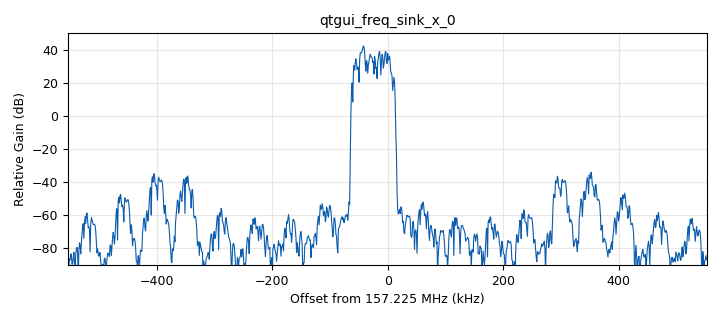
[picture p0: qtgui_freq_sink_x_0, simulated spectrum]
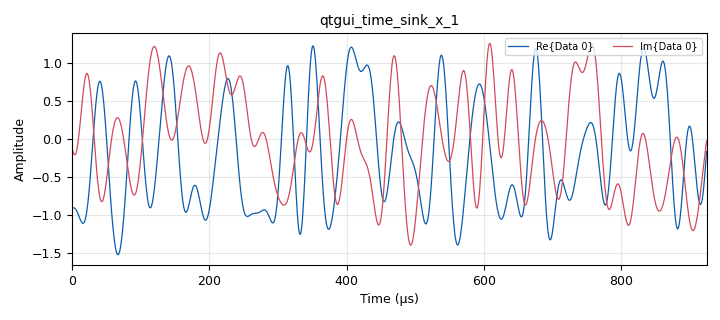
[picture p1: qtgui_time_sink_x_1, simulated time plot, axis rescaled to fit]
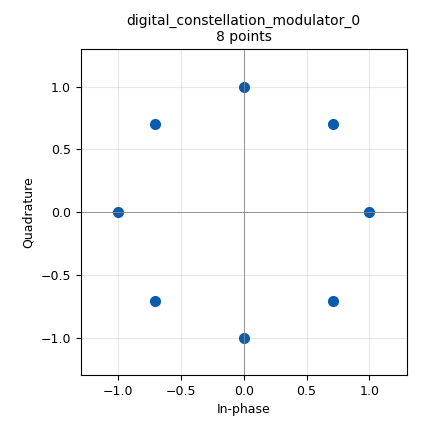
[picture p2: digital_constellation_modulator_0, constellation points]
options:
  parameters:
    generate_options: qt_gui
    id: VDETERframebuilder
    output_language: python
    title: Not titled yet
  states: {}

blocks:
- name: bit_rate
  id: variable
  parameters:
    value: 57.6e3
  states: {}
- name: qpsk_vde_ter_pi4
  id: variable_constellation
  parameters:
    const_points: '[-0.7071 -0.7071j, -1+0j,-0.7071+0.7071j,0+1j,0.7071-0.7071j, 0-1j,0.7071+0.7071j,1+0j]'
    dims: '1'
    precision: '8'
    rot_sym: '8'
    sym_map: '[0, 1, 2, 3, 4, 5, 6, 7]'
    type: calcdist
  states: {}
- name: samp_rate
  id: variable
  parameters:
    value: '1105920'
  states: {}
- name: analog_sig_source_x_0
  id: analog_sig_source_x
  parameters:
    amp: '1'
    freq: '-25e3'
    offset: '0'
    phase: '0'
    samp_rate: samp_rate
    type: complex
    waveform: analog.GR_SIN_WAVE
  states: {}
- name: analog_sig_source_x_0_0
  id: analog_sig_source_x
  parameters:
    amp: '1'
    freq: +25e3
    offset: '0'
    phase: '0'
    samp_rate: samp_rate
    type: complex
    waveform: analog.GR_SIN_WAVE
  states: {state: disabled}
- name: blocks_multiply_const_xx_0
  id: blocks_multiply_const_xx
  parameters:
    const: '900'
    type: complex
  states: {}
- name: blocks_multiply_const_xx_0_0
  id: blocks_multiply_const_xx
  parameters:
    const: '900'
    type: complex
  states: {state: disabled}
- name: blocks_multiply_xx_0
  id: blocks_multiply_xx
  parameters:
    type: complex
  states: {}
- name: blocks_multiply_xx_0_2
  id: blocks_multiply_xx
  parameters:
    type: complex
  states: {state: disabled}
- name: blocks_selector_0
  id: blocks_selector
  parameters:
    enabled: 'True'
    input_index: '0'
    num_inputs: '2'
    num_outputs: '1'
    output_index: '0'
    type: complex
  states: {state: disabled}
- name: blocks_throttle_0
  id: blocks_throttle
  parameters:
    samples_per_second: samp_rate
    type: complex
  states: {}
- name: digital_constellation_modulator_0
  id: digital_constellation_modulator
  parameters:
    constellation: qpsk_vde_ter_pi4
    differential: 'True'
    excess_bw: '0.3'
    samples_per_symbol: int(samp_rate/bit_rate)
    verbose: 'True'
  states: {}
- name: epy_block_0
  id: epy_block
  parameters:
    LinkID: '11'
    VDEMessage: '''010111001001010010000011101011011110011010001010100000000001110101101111001101000101100010000000000000000000000100000000000000000000000000000001110000110001110000110001110000110000110000110000110000110001110000110001110000110001110000110000110001110001110000110001110000110001110000110000011000000'''
    _source_code: "\"\"\"\nEmbedded Python Blocks:\n\nEach time this file is saved, GRC will instantiate the first class it finds\nto get ports and parameters of your block. The arguments to __init__  will\nbe the parameters. All of them are required to have default values!\n\"\"\"\n\nimport numpy as np\nfrom gnuradio import gr\nimport time\n\n\nclass blk(gr.sync_block):  # other base classes are basic_block, decim_block, interp_block\n    \"\"\"Embedded Python Block\"\"\"\n\n    def __init__(self, LinkID=11, VDEMessage='0101000000001110101101111001101000101010011101011011110011010001011000100000000000000000001100100000000000000000000000000000000000000000000000000000000000000000000000000000000000000000000000000000000000000000000000000000000000000000000000000000000000000000'):  # only default arguments here\n        \"\"\"arguments to this function show up as parameters in GRC\"\"\"\n        gr.sync_block.__init__(\n            self,\n            name='VDE-TER Framebuilder',   # will show up in GRC\n            in_sig=None,\n            out_sig=[np.byte]\n        )\n        # if an attribute with the same name as a parameter is found,\n        # a callback is registered (properties work, too).\n        #self.example_param = example_param\n\n        self.VDEMessage = VDEMessage\n        self.LinkID = LinkID \n        '''Link ID should only be 11, 17, 19. 5 is only included, because we could not find\n        examples of any other link ID frame generation. In order to validate the code, it was \n        neccessary to include link ID 5, the code also consists of modulation, so if link ID 19 \n        is used, the code does not work, according to the technical specifications in ITU'''\n    \n    linkID_datagram_length = {11: 400, 17: 1840, 19: 5584, 5:256} #Datagram length that was determined by subtracting 32 from the FEC input\n    \n\n    def append_padding(self, LinkID, message, linkID_datagram_length):\n        #only take account for messages shorter then the datagram. Fragmentation is not taken into account\n        datagram_length = linkID_datagram_length[LinkID]\n        if datagram_length != len(message):\n            message = message + '0'*(datagram_length-len(message))\n        return message\n    \n    #table and crc32 code from https://gist.github.com/Miliox/b86b60b9755faf3bd7cf\n    CRC32_MPEG_TABLE = [\n        0x00000000, 0x04c11db7, 0x09823b6e, 0x0d4326d9,\n      0x130476dc, 0x17c56b6b, 0x1a864db2, 0x1e475005,\n      0x2608edb8, 0x22c9f00f, 0x2f8ad6d6, 0x2b4bcb61,\n      0x350c9b64, 0x31cd86d3, 0x3c8ea00a, 0x384fbdbd,\n      0x4c11db70, 0x48d0c6c7, 0x4593e01e, 0x4152fda9,\n      0x5f15adac, 0x5bd4b01b, 0x569796c2, 0x52568b75,\n      0x6a1936c8, 0x6ed82b7f, 0x639b0da6, 0x675a1011,\n      0x791d4014, 0x7ddc5da3, 0x709f7b7a, 0x745e66cd,\n      0x9823b6e0, 0x9ce2ab57, 0x91a18d8e, 0x95609039,\n      0x8b27c03c, 0x8fe6dd8b, 0x82a5fb52, 0x8664e6e5,\n      0xbe2b5b58, 0xbaea46ef, 0xb7a96036, 0xb3687d81,\n      0xad2f2d84, 0xa9ee3033, 0xa4ad16ea, 0xa06c0b5d,\n      0xd4326d90, 0xd0f37027, 0xddb056fe, 0xd9714b49,\n      0xc7361b4c, 0xc3f706fb, 0xceb42022, 0xca753d95,\n      0xf23a8028, 0xf6fb9d9f, 0xfbb8bb46, 0xff79a6f1,\n      0xe13ef6f4, 0xe5ffeb43, 0xe8bccd9a, 0xec7dd02d,\n      0x34867077, 0x30476dc0, 0x3d044b19, 0x39c556ae,\n      0x278206ab, 0x23431b1c, 0x2e003dc5, 0x2ac12072,\n      0x128e9dcf, 0x164f8078, 0x1b0ca6a1, 0x1fcdbb16,\n      0x018aeb13, 0x054bf6a4, 0x0808d07d, 0x0cc9cdca,\n      0x7897ab07, 0x7c56b6b0, 0x71159069, 0x75d48dde,\n      0x6b93dddb, 0x6f52c06c, 0x6211e6b5, 0x66d0fb02,\n      0x5e9f46bf, 0x5a5e5b08, 0x571d7dd1, 0x53dc6066,\n      0x4d9b3063, 0x495a2dd4, 0x44190b0d, 0x40d816ba,\n      0xaca5c697, 0xa864db20, 0xa527fdf9, 0xa1e6e04e,\n      0xbfa1b04b, 0xbb60adfc, 0xb6238b25, 0xb2e29692,\n      0x8aad2b2f, 0x8e6c3698, 0x832f1041, 0x87ee0df6,\n      0x99a95df3, 0x9d684044, 0x902b669d, 0x94ea7b2a,\n      0xe0b41de7, 0xe4750050, 0xe9362689, 0xedf73b3e,\n      0xf3b06b3b, 0xf771768c, 0xfa325055, 0xfef34de2,\n      0xc6bcf05f, 0xc27dede8, 0xcf3ecb31, 0xcbffd686,\n      0xd5b88683, 0xd1799b34, 0xdc3abded, 0xd8fba05a,\n      0x690ce0ee, 0x6dcdfd59, 0x608edb80, 0x644fc637,\n      0x7a089632, 0x7ec98b85, 0x738aad5c, 0x774bb0eb,\n      0x4f040d56, 0x4bc510e1, 0x46863638, 0x42472b8f,\n      0x5c007b8a, 0x58c1663d, 0x558240e4, 0x51435d53,\n      0x251d3b9e, 0x21dc2629, 0x2c9f00f0, 0x285e1d47,\n      0x36194d42, 0x32d850f5, 0x3f9b762c, 0x3b5a6b9b,\n      0x0315d626, 0x07d4cb91, 0x0a97ed48, 0x0e56f0ff,\n      0x1011a0fa, 0x14d0bd4d, 0x19939b94, 0x1d528623,\n      0xf12f560e, 0xf5ee4bb9, 0xf8ad6d60, 0xfc6c70d7,\n      0xe22b20d2, 0xe6ea3d65, 0xeba91bbc, 0xef68060b,\n      0xd727bbb6, 0xd3e6a601, 0xdea580d8, 0xda649d6f,\n      0xc423cd6a, 0xc0e2d0dd, 0xcda1f604, 0xc960ebb3,\n      0xbd3e8d7e, 0xb9ff90c9, 0xb4bcb610, 0xb07daba7,\n      0xae3afba2, 0xaafbe615, 0xa7b8c0cc, 0xa379dd7b,\n      0x9b3660c6, 0x9ff77d71, 0x92b45ba8, 0x9675461f,\n      0x8832161a, 0x8cf30bad, 0x81b02d74, 0x857130c3,\n      0x5d8a9099, 0x594b8d2e, 0x5408abf7, 0x50c9b640,\n      0x4e8ee645, 0x4a4ffbf2, 0x470cdd2b, 0x43cdc09c,\n      0x7b827d21, 0x7f436096, 0x7200464f, 0x76c15bf8,\n      0x68860bfd, 0x6c47164a, 0x61043093, 0x65c52d24,\n      0x119b4be9, 0x155a565e, 0x18197087, 0x1cd86d30,\n      0x029f3d35, 0x065e2082, 0x0b1d065b, 0x0fdc1bec,\n      0x3793a651, 0x3352bbe6, 0x3e119d3f, 0x3ad08088,\n      0x2497d08d, 0x2056cd3a, 0x2d15ebe3, 0x29d4f654,\n      0xc5a92679, 0xc1683bce, 0xcc2b1d17, 0xc8ea00a0,\n      0xd6ad50a5, 0xd26c4d12, 0xdf2f6bcb, 0xdbee767c,\n      0xe3a1cbc1, 0xe760d676, 0xea23f0af, 0xeee2ed18,\n      0xf0a5bd1d, 0xf464a0aa, 0xf9278673, 0xfde69bc4,\n      0x89b8fd09, 0x8d79e0be, 0x803ac667, 0x84fbdbd0,\n      0x9abc8bd5, 0x9e7d9662, 0x933eb0bb, 0x97ffad0c,\n      0xafb010b1, 0xab710d06, 0xa6322bdf, 0xa2f33668,\n      0xbcb4666d, 0xb8757bda, 0xb5365d03, 0xb1f740b4\n        ]\n    \n    def _crc32(self, data, CRC32_MPEG_TABLE, crc=0xFFFFFFFF):\n\n        table = CRC32_MPEG_TABLE\n        for byte in data: \n            crc = (crc << 8) ^ table[((crc >> 24) ^ byte) & 0xFF]\n        \n        #Take last 32 bits of the value \n        crc = (crc & 0xFFFFFFFF)\n        \n        #turn into binary\n        #crc = format(crc, 'b') wrong\n        crc = '{0:b}'.format(crc).rjust(32,'0') #use to append 0 padding at the start\n        return crc\n    #Thanks to https://github.com/Michaelangel007/crc32 for demystifiying crc32\n    #After the payload has been padded and appended a crc32 value, turbo encoding need to be done accordingly\n\n    permutation_primes = {5: [47,17,233,127,239,139,199,163],\n                          11: [127,191,241,5,83,109,107,179],\n                          17: [211,61,227,239,181,79,73,193],\n                          19: [137,101,223,41,67,131,61,47]} #List of permuatationn primes associated with a link ID\n    k1_k2 = {5: [2,144],\n             11: [2,216],\n             17: [6,312],\n             19: [16,351]} #k values associated with different link IDs\n\n    def calculate_permutation(self,s, k1, k2, primes):\n        '''\n        Calculate the permutation numbers for s = (1,...,k)\n        The operations are from the ITU specification for VDES.\n        '''\n        m = (s - 1) % 2\n        i = ((s - 1) // (2*k2))\n        j = ((s - 1) // 2) - i*k2\n        t = (19*i + 1) % int((k1/2))\n        q = t % 8 + 1\n        c = (primes[q-1]*j + 21*m) % k2\n        pi_s = 2*(t + c*k1//2 + 1) - m\n        return int(pi_s)\n\n    def interleave(self, input, k1, k2, primes):\n        #create an empty list to contain the permutated indices\n        permuted_indices = []\n        #iterate with s values from 1-k, and use this to compute the permutated indice\n        for s in range(1,k1*k2+1):\n            #append the new permutated indices:\n            #indices are from 1-k.\n        \n            permuted_indices.append(self.calculate_permutation(s,k1,k2,primes))\n            #print(s)\n\n        #check for duplicates in permuted indics\n        if len(set(permuted_indices))!=len(permuted_indices):\n            print(\"something is wrong, an duplication exists\")\n    \n        #Generate a list of 0 same length as input. \n        interleaved_list = [0] * len(input)\n        #print(interleaved_list)\n        i = 0\n        for permuted_indice in permuted_indices:\n            #s bit read out should be pi(s), so if pi(1)=2 then input(2) should be the first \n            interleaved_list[i] = input[permuted_indice-1]\n            i += 1\n        \n        interleaved_string = ''.join(interleaved_list)\n        \n        return ''.join(interleaved_list)\n\n\n\n    def rsc_encode(self, input):\n        '''\n        Contains the Recursive Systematic Convultional (RSC) as described in the technical \n        specification of VDES. See https://www.itu.int/dms_pubrec/itu-r/rec/m/R-REC-M.2092-1-202202-I!!PDF-E.pdf, \n        Annex 2 for more information\n        '''\n        #Initialize the feedback register, should allways start start with 0 in each register\n        D = [0, 0, 0]\n        \n\n        #prepare output lists\n        X = []\n        Y1 = []\n        Y2 = []\n        xor = 0\n        for bit in input:\n            #Compute first xor operations\n            bit = int(bit)\n            xor = D[2]^D[1]^bit\n\n\n            # Calculate output bits\n            x = bit\n            y1 = xor ^ D[0] ^ D[2]\n            y2 =  xor ^ D[0] ^ D[1] ^ D[2]\n\n            #update the feedback register\n            D.insert(0, xor)\n            D.pop()\n            #append the output bits to the appropriate list\n            X.append(x)\n            Y1.append(y1)\n            Y2.append(y2)\n        \n        # After all the bits have been read in, the next step is to calculate the tail pattern. In this case no bit is shifted\n        # in so the encoding need to be changed accordingly. The RSC calculates the final string correctly, without the tail bits. \n        # The next step is to figure out the corresponding tail bits. After k clocks. that is 288 in the test examples, and might\n        # vary depenging on the link layer ID. For the 6 subsequent clocks, the switch is moved from position A to position B. \n        # This is done to ensure, that the shift register contains 3 0's. The tails are then \n        # Appended according to the tail puncturing pattern associated with a given link ID. \n\n        #prepare tail lists\n        X_tail = []\n        Y1_tail = []\n        Y2_tail = []\n\n\n        #print(D)\n        for i in range(0,3):\n            xor1 = D[1]^D[2]\n            xor = xor1^xor1\n\n            #compute the output bits for the tail\n            x_tail = xor1\n            y1_tail = xor ^ D[0] ^ D[2]\n            y2_tail =  xor ^ D[0] ^ D[1] ^ D[2]\n            #update the feedback register\n            D.insert(0, xor)\n            D.pop()\n            #append output bits to the appropriate tail list\n            X_tail.append(x_tail)\n            Y1_tail.append(y1_tail)\n            Y2_tail.append(y2_tail)\n\n        #print(D)\n        return X, Y1, Y2, X_tail, Y1_tail, Y2_tail\n    \n    puncture_pattern = {5: [[1,0,1,0,0,0], [1,0,0,0,0,0], [1,0,0,0,0,0], [1,0,0,0,0,0], [1,0,0,0,0,0], [1,0,0,0,0,1]],\n                        11: [[1,1,0,0,0,0], [1,0,0,0,1,0]],\n                        17: [[1,1,0,0,0,0], [1,0,0,0,1,0]],\n                        19: [[1,0,1,0,0,0], [1,0,0,0,0,0], [1,0,0,0,0,0], [1,0,0,0,0,0], [1,0,0,0,0,0], [1,0,0,0,0,1]]}#puncture pattern for the k first clocks for linkIDs\n    \n    puncture_pattern_tail = {5: [[1,0,1,0,0,0], [1,0,1,0,0,0], [1,0,0,0,0,0], [0,0,0,1,0,1], [0,0,0,1,0,1], [0,0,0,1,0,0]],\n                             11: [[1,1,0,0,0,0], [1,1,0,0,0,0], [1,0,0,0,0,0], [0,0,0,1,1,0], [0,0,0,1,1,0], [0,0,0,1,0,0]],\n                             17: [[1,1,0,0,0,0], [1,1,0,0,0,0], [1,0,0,0,0,0], [0,0,0,1,1,0], [0,0,0,1,1,0], [0,0,0,1,0,0]],\n                             19: [[1,0,1,0,0,0], [1,0,1,0,0,0], [1,0,1,0,0,0], [0,0,0,1,0,1], [0,0,0,1,0,1], [0,0,0,1,0,1]]}#puncture pattern for the 6 last clocks\n\n    def puncturing(self, puncture_pattern, x, y0, y1, x_, y0_, y1_):\n        '''\n        Each RSC encoder produces three outputs per input bit. The first encoder produces\n        x,y0,y1 and the second x',y0',y1'. The output should then be output if the puncture\n        pattern contains 1, and be discarded if the puncture pattern is 0. The resulting output\n        should be output in the following sequence: x,y0,y1,x',y0',y1'.  \n        '''\n        s = \"\"\n        p = 0\n        for i in range(len(x)):\n            if puncture_pattern[p][0] == 1:\n                s += str(x[i])\n            if puncture_pattern[p][1] == 1:\n                s += str(y0[i])\n            if puncture_pattern[p][2] == 1:\n                s += str(y1[i])\n            if puncture_pattern[p][3] == 1:\n                s += str(x_[i])\n            if puncture_pattern[p][4] == 1:\n                s += str(y0_[i])\n            if puncture_pattern[p][5] == 1:\n                s += str(y1_[i])\n            \n            p+=1\n            if p == len(puncture_pattern):\n                p = 0\n\n        return s\n\n    def puncturing_tail(self, puncture_pattern, x_tail, y0_tail, y1_tail, x_per_tail, y0_per_tail, y1_per_tail):\n        '''\n        After the entire input and interleaved string have been encoded and punctured, \n        switch in the RSC is switched. For the next three clocks only encoder 1 outputs data. \n        For the sequent 3 clocks only the second encoder should output data. \n        Depending on the pucnture pattern the first x bits should therefore be from encoder 1\n        and the last x bits should be from encoder 2. \n        '''\n        s = \"\"\n        p = 0\n        test = \"\"\n        for i in range(len(x_tail)):\n            if puncture_pattern[p][0] == 1:\n                s += str(x_tail[i])\n                test = test + 'x'\n            if puncture_pattern[p][1] == 1:\n                s += str(y0_tail[i])\n                test = test + 'y0'\n            if puncture_pattern[p][2] == 1:\n                s += str(y1_tail[i])\n                test = test + 'y1'\n            p += 1\n            \n            \n        for i in range(len(x_per_tail)): \n            if puncture_pattern[p][3] == 1:\n                s += str(x_per_tail[i])\n                test += \"x'\"\n            if puncture_pattern[p][4] == 1:\n                s += str(y0_per_tail[i])\n                test += \"y0'\"\n            if puncture_pattern[p][5] == 1:\n                s += str(y1_per_tail[i])\n                test += \"y1'\"\n            p += 1\n\n        #print(test)\n        return s\n    \n    #adapted from https://stackoverflow.com/questions/61229326/is-my-bit-scrambler-implementation-flawed\n    def bitscrambling(self, input_bits):\n        #Initialize the initialization squence according to the ITU specification\n        init_sequence = [1,0,0,1,0,1,0,1,0,0,0,0,0,0,0]\n\n        output_bits = ''\n        for bit in input_bits:\n            input_bit = int(bit)\n            \n            #compute the feedback bit by XORing the specified bits in the polynomial, namely xor bit 14 and 15 from lfsr\n            feedback_bit = init_sequence[len(init_sequence)-2]^init_sequence[len(init_sequence)-1]\n            \n            #Update the initialization sequence, inserting the feedback bit at the left\n            init_sequence.pop()\n            init_sequence.insert(0, feedback_bit)\n            \n            #XOR the input bit with the feedback bit\n            output_bit = input_bit ^ feedback_bit\n            output_bits += str(output_bit)\n        \n        return output_bits\n    \n    \n    def bitstring_to_bytes(self, bitstring):\n        '''Turn bitstring to bytes from the ais frame builder'''\n        result = bytearray()\n\n        for i in range(0, len(bitstring), 8):\n            single = int(bitstring[i:i+8],2).to_bytes(1, 'big')\n            result = self.append_bytes_together(result, single)\n\n        return result\n    \n    \n    def append_bytes_together(self, bytes1, bytes2):\n        '''Append bytes together from the ais frame builder'''\n        result = bytearray(bytes1)\n        for byte in bytes2:\n            result.append(byte)\n\n        return result\n    \n    #Dictionary containing vde-ter identification code for some linkID's\n    \n    linkID_identification_code = {5:'11010101111011010111111010111111',\n                                  11:'11101101001011101100001001111100',\n                                  17:'10000111001101110010010011100101',\n                                  19:'10001111010010000010010000011010'}\n                                  \n    linkID_reverse = {11:'10110111011101000100001100111110',\n                      17:'11100001111011000010010010100111',\n                      19:'11110001000100100010010001011000'}\n    \n    mapping_purple = {'00': [-1,0],\n                  '01': [0,1],\n                  '10': [0,-1],\n                  '11':[1,0]}#QPSK mapping from the ITU, purple points\n    \n    mapping_green = {'11': [0.7,0.7],\n                 '01': [-0.7,0.7],\n                 '00': [-0.7, -0.7],\n                 '10': [0.7, -0.7]}#QPSK mapping from ITU, green points\n    \n    \n    def compute_mapping_bytes(self,final):\n        \n        tmp = \"\"\n        x = 0\n        mapping = []\n        for i in range(0,len(final)-1,2): #For every 2 bit\n            #append the second bit\n            tmp = final[i]+final[i+1]\n            if x%2 == 0:\n                #map every even bit index to green\n                mapping.append(self.mapping_green[tmp])\n            else: \n                #map every odd bit index to purple\n                mapping.append(self.mapping_purple[tmp])\n            x+= 1\n        \n            \n        return mapping\n    \n    \n    def bytes_to_bitstring(self, bytes):\n        #turn byte to bitstring form ais framebuilder\n        return bin(int.from_bytes(bytes, 'big'))[2:].rjust(len(bytes)*8,'0')\n        \n        \n    def reverse_bit_order(self, bytes):\n        #Reverse the bit order for a byte to ensure correct endiannes, from ais framebuilder\n        bitstring = self.bytes_to_bitstring(bytes)\n\n        for i in range(0,len(bitstring),8):\n            block = bitstring[i:i+8]\n            bitstring = bitstring[:i] + block[::-1] + bitstring[i+8:]\n\n        return bitstring\n                               \n    \n    def build_frame(self):\n        #Syncword sequence for asm-ter and vde-ter\n        syncword = '111111001101010000011001010'\n        #1 maps to (1 1)\n        #0 maps to (0,0)\n        linkID_code = self.linkID_identification_code[self.LinkID]\n\n        #append padding according to the linkID datagram length\n        padded_input = self.append_padding(self.LinkID, self.VDEMessage, self.linkID_datagram_length)\n        \n        #compute crc\n        \n        \n        int_payload = int(padded_input,2)\n\t\n        byte_payload = int_payload.to_bytes(len(padded_input)//8, 'big')\n\n        crc = self._crc32(byte_payload, self.CRC32_MPEG_TABLE)\n\n        #append crc\n        \n        payload_crc = padded_input + crc\n        \n        #If linkID, 11, 17 or 19, apply endianess\n        \n        if self.LinkID != 5:\n            #turn bitstring into bytes\n            int_payload = int(payload_crc,2)\n            byte_payload = int_payload.to_bytes(len(payload_crc)//8,'big')\n            \n            #reverse the bit order of the byte\n            payload_crc = self.reverse_bit_order(byte_payload)\n            #append the reverse bit order for each byte for syncword and link ID\n            syncword = '001111110010101110011000010' \n            linkID_code = self.linkID_reverse[self.LinkID]\n        \n        \n        \n\n        #rearrange the input, according to the link ID parameters\n\n        rearranged_input = self.interleave(payload_crc, self.k1_k2[self.LinkID][0], self.k1_k2[self.LinkID][1],self.permutation_primes[self.LinkID])\n\n        #Compute the output for the RSC encoder, for the payload_crc and rearranged input\n\n        x, y0, y1, x_tail, y0_tail, y1_tail  = self.rsc_encode(payload_crc)\n\n        x_per, y0_per, y1_per, x_per_tail, y0_per_tail, y1_per_tail = self.rsc_encode(rearranged_input)  \n\n        #compute the output data, using the puncturing pattern\n\n        turbo_encoded_output = self.puncturing(self.puncture_pattern[self.LinkID], x, y0, y1, x_per, y0_per, y1_per)\n        \n        #print(turbo_encoded_output==\"001010000000000010110101111011111000110010000101110100111010101111011110010110100000101010000101000000000100000101000001101001000100000100000000000000010100000001000000010000000000000001000000000000000000000001000001010000000100000100000001010000010000000100000001010000000100000001000000000000010100000000000001000000010100000101000000010000010011011011100010100000011011011001101011\")\n\n        #compute the tail bits\n\n        tailbits = self.puncturing_tail(self.puncture_pattern_tail[self.LinkID], x_tail, y0_tail, y1_tail, x_per_tail, y0_per_tail, y1_per_tail)\n        \n        \n\n        #append the tail bits to the turbo encoded output\n\n        turbo_encoding_done = turbo_encoded_output + tailbits\n\n        #scramble the data\n\n        scrambled_data = self.bitscrambling(turbo_encoding_done)\n        \n\n        syncword_2x = \"\"\n        \n        #double every digit in syncword, since 1 maps to qpsk(1 1), and 0 maps to qpsk(0 0)\n        for bit in syncword:\n                syncword_2x += 2*(bit)\n                \n        \n        final = syncword_2x + linkID_code + scrambled_data\n        \n        print(scrambled_data)\n        #print(\"done\")\n        \n        \n        #mapping = self.compute_mapping_bytes(final)\n        \n        #print(mapping)\n        \n        tmp = \"\"\n        extra_bit = \"\" \n        x = 0\n        for i in range(0,len(final)-1,2):\n            tmp = final[i]+final[i+1]\n            if x%2 == 0:\n                #mapping.append(mapping_green[tmp])\n                tmp += \"0\"\n                #print(tmp)\n                extra_bit = extra_bit + tmp\n            else:\n                #mapping.append(mapping_purple[tmp])\n                tmp += \"1\"\n                extra_bit = extra_bit + tmp\n            x += 1\n\n        #11011111011111011100000111011100011100011100000100000100011111000100011100011100011101001\n\n        #where the syncword bits are 11x or 00x, where x states if it is to be mapped to green or purple. \n\n        #linkword and scrambled data is 00x, 01x, 10x, 11x,\n\n        #(len(extra_bit)==len(final)*3/2)\n\n        \n        \n        #print(mapping)\n        \n\t\n        \n        return extra_bit\n\n    \n\n    def work(self, input_items, output_items):\n        \n        time.sleep(1)\n\n        final_frame = self.build_frame()\n        \n        final_frame = [k for k in self.bitstring_to_bytes(final_frame)]\n        \n        print(final_frame)\n\n\n        if len(output_items[0]) >= len(final_frame):\n        \n            for i in range(len(final_frame)):\n                output_items[0][i] = final_frame[i]\n            \n            output_length = len(final_frame)\n            \n        else:\n            output_length = 0\n        \n        return output_length\n\n\n\n        \n"
  states: {}
- name: epy_block_1
  id: epy_block
  parameters:
    _source_code: |
      """
      Embedded Python Blocks:

      Each time this file is saved, GRC will instantiate the first class it finds
      to get ports and parameters of your block. The arguments to __init__  will
      be the parameters. All of them are required to have default values!
      """

      import numpy as np
      from gnuradio import gr


      class blk(gr.sync_block):  # other base classes are basic_block, decim_block, interp_block
          """Embedded Python Block example - a simple multiply const"""

          def __init__(self, example_param=1.0):  # only default arguments here
              """arguments to this function show up as parameters in GRC"""
              gr.sync_block.__init__(
                  self,
                  name='Embedded Python Block',   # will show up in GRC
                  in_sig=[np.byte],
                  out_sig=None
              )
              # if an attribute with the same name as a parameter is found,
              # a callback is registered (properties work, too).
              self.example_param = example_param

          def work(self, input_items, output_items):
              """example: multiply with constant"""
          
              
              return 0
    example_param: '1.0'
  states: {state: disabled}
- name: epy_block_2
  id: epy_block
  parameters:
    _source_code: |
      """
      Embedded Python Blocks:

      Each time this file is saved, GRC will instantiate the first class it finds
      to get ports and parameters of your block. The arguments to __init__  will
      be the parameters. All of them are required to have default values!
      """

      import numpy as np
      from gnuradio import gr
      import time


      class blk(gr.sync_block):  # other base classes are basic_block, decim_block, interp_block
          """Embedded Python Block example - a simple multiply const"""

          def __init__(self, example_param=1.0):  # only default arguments here
              """arguments to this function show up as parameters in GRC"""
              gr.sync_block.__init__(
                  self,
                  name='Embedded Python Block',   # will show up in GRC
                  in_sig=[np.complex64],
                  out_sig=None
              )
              # if an attribute with the same name as a parameter is found,
              # a callback is registered (properties work, too).
              self.example_param = example_param

          def work(self, input_items, output_items):
              """example: multiply with constant"""
              test = input_items[0][:]
              #output_items[0][:] = input_items[0] * self.example_param
              #print(test)
              time.sleep(1)
              return 0
    example_param: '1.0'
  states: {state: disabled}
- name: osmosdr_sink_0
  id: osmosdr_sink
  parameters:
    bb_gain0: '20'
    freq0: 100e6
    gain0: '10'
    if_gain0: '20'
    sample_rate: samp_rate
    sync: sync
    type: fc32
  states: {state: disabled}
- name: qtgui_const_sink_x_0
  id: qtgui_const_sink_x
  parameters:
    size: '4096'
    type: complex
  states: {state: disabled}
- name: qtgui_freq_sink_x_0
  id: qtgui_freq_sink_x
  parameters:
    autoscale: 'True'
    bw: samp_rate
    fc: 157.225e6
    fftsize: '1024'
    grid: 'True'
    type: complex
    wintype: firdes.WIN_BLACKMAN_hARRIS
  states: {}
- name: qtgui_time_sink_x_0
  id: qtgui_time_sink_x
  parameters:
    size: '1024'
    srate: samp_rate
    type: complex
  states: {state: disabled}
- name: qtgui_time_sink_x_1
  id: qtgui_time_sink_x
  parameters:
    size: '1024'
    srate: samp_rate
    type: complex
  states: {}

connections:
- [analog_sig_source_x_0, '0', blocks_multiply_xx_0, '1']
- [analog_sig_source_x_0_0, '0', blocks_multiply_xx_0_2, '1']
- [blocks_multiply_const_xx_0, '0', blocks_selector_0, '0']
- [blocks_multiply_const_xx_0, '0', osmosdr_sink_0, '0']
- [blocks_multiply_const_xx_0, '0', qtgui_freq_sink_x_0, '0']
- [blocks_multiply_const_xx_0_0, '0', blocks_selector_0, '1']
- [blocks_multiply_xx_0, '0', blocks_multiply_const_xx_0, '0']
- [blocks_multiply_xx_0_2, '0', blocks_multiply_const_xx_0_0, '0']
- [blocks_selector_0, '0', qtgui_freq_sink_x_0, '0']
- [blocks_throttle_0, '0', qtgui_const_sink_x_0, '0']
- [blocks_throttle_0, '0', qtgui_time_sink_x_1, '0']
- [digital_constellation_modulator_0, '0', blocks_multiply_xx_0, '0']
- [digital_constellation_modulator_0, '0', blocks_multiply_xx_0_2, '0']
- [digital_constellation_modulator_0, '0', blocks_throttle_0, '0']
- [digital_constellation_modulator_0, '0', epy_block_2, '0']
- [epy_block_0, '0', digital_constellation_modulator_0, '0']
- [epy_block_0, '0', epy_block_1, '0']

metadata:
  file_format: 1
